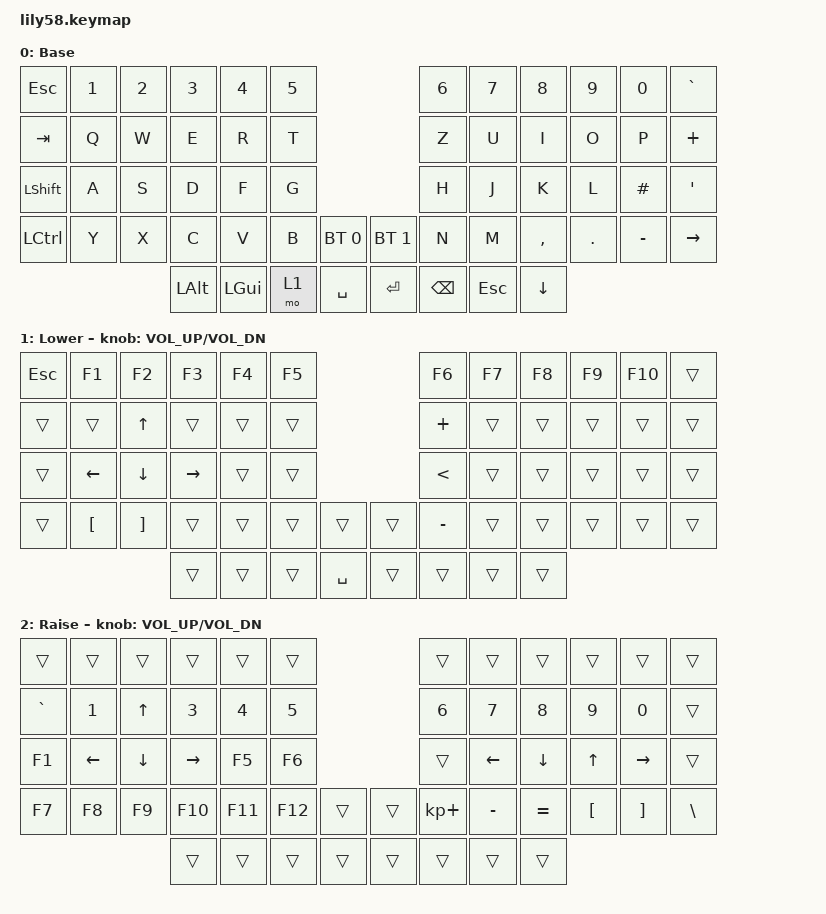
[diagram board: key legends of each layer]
/*
 * Copyright (c) 2020 The ZMK Contributors
 *
 * SPDX-License-Identifier: MIT
 */

#include <behaviors.dtsi>
#include <dt-bindings/zmk/bt.h>
#include <dt-bindings/zmk/keys.h>

/ {
    keymap {
        compatible = "zmk,keymap";

        default_layer {
            // ------------------------------------------------------------------------------------------------------------
            // |  ESC  |  1  |  2  |  3   |  4   |  5   |                   |  6   |  7    |  8    |  9   |   0   |   `   |
            // |  TAB  |  Q  |  W  |  E   |  R   |  T   |                   |  Y   |  U    |  I    |  O   |   P   |   -   |
            // |  CTRL |  A  |  S  |  D   |  F   |  G   |                   |  H   |  J    |  K    |  L   |   ;   |   '   |
            // | SHIFT |  Z  |  X  |  C   |  V   |  B   |   "["  |  |  "]"  |  N   |  M    |  ,    |  .   |   /   | SHIFT |
            //                     | ALT  | GUI  | LOWER|  SPACE |  | ENTER | RAISE| BSPC  | GUI   |

            display-name = "Base";
            bindings = <
&kp ESC           &kp N1  &kp N2  &kp N3    &kp N4    &kp N5                                &kp N6         &kp N7   &kp N8          &kp N9   &kp N0     &kp GRAVE
&kp TAB           &kp Q   &kp W   &kp E     &kp R     &kp T                                 &kp Z          &kp U    &kp I           &kp O    &kp P      &kp PLUS
&kp LEFT_SHIFT    &kp A   &kp S   &kp D     &kp F     &kp G                                 &kp H          &kp J    &kp K           &kp L    &kp HASH   &kp SQT
&kp LEFT_CONTROL  &kp Y   &kp X   &kp C     &kp V     &kp B   &bt BT_SEL 0    &bt BT_SEL 1  &kp N          &kp M    &kp COMMA       &kp DOT  &kp MINUS  &kp RIGHT_ARROW
                                  &kp LALT  &kp LGUI  &mo 1   &kp SPACE       &kp RET       &kp BACKSPACE  &kp ESC  &kp DOWN_ARROW
            >;
        };

        functions {
            // ------------------------------------------------------------------------------------------------------------
            // | BTCLR | BT1 | BT2 |  BT3 |  BT4 |  BT5 |                   |      |       |       |      |       |       |
            // |  F1   |  F2 |  F3 |  F4  |  F5  |  F6  |                   |  F7  |  F8   |  F9   |  F10 |  F11  |  F12  |
            // |   `   |  !  |  @  |  #   |  $   |  %   |                   |  ^   |  &    |  *    |  (   |   )   |   ~   |
            // |       |     |     |      |      |      |        |  |       |      |  _    |  +    |  {   |   }   |  "|"  |
            //                     |      |      |      |        |  |       |      |       |       |

            display-name = "Lower";
            bindings = <
&kp ESCAPE  &kp F1            &kp F2             &kp F3     &kp F4  &kp F5                       &kp F6         &kp F7  &kp F8  &kp F9  &kp F10  &trans
&trans      &trans            &kp UP_ARROW       &trans     &trans  &trans                       &kp PLUS       &trans  &trans  &trans  &trans   &trans
&trans      &kp LEFT          &kp DOWN           &kp RIGHT  &trans  &trans                       &kp LESS_THAN  &trans  &trans  &trans  &trans   &trans
&trans      &kp LEFT_BRACKET  &kp RIGHT_BRACKET  &trans     &trans  &trans  &trans       &trans  &kp MINUS      &trans  &trans  &trans  &trans   &trans
                                                 &trans     &trans  &trans  &kp SPACE    &trans  &trans         &trans  &trans
            >;

            sensor-bindings = <&inc_dec_kp C_VOL_UP C_VOL_DN>;
        };

        raise_layer {
            // ------------------------------------------------------------------------------------------------------------
            // |       |     |     |      |      |      |                   |      |       |       |      |       |       |
            // |   `   |  1  |  2  |  3   |  4   |  5   |                   |  6   |   7   |   8   |  9   |   0   |       |
            // |   F1  |  F2 |  F3 |  F4  |  F5  |  F6  |                   |      |   <-  |   v   |  ^   |  ->   |       |
            // |   F7  |  F8 |  F9 |  F10 |  F11 |  F12 |        |  |       |  +   |   -   |   =   |  [   |   ]   |   \   |
            //                     |      |      |      |        |  |       |      |       |       |

            display-name = "Raise";
            bindings = <
&trans     &trans    &trans          &trans     &trans   &trans                     &trans       &trans     &trans     &trans    &trans     &trans
&kp GRAVE  &kp N1    &kp UP_ARROW    &kp N3     &kp N4   &kp N5                     &kp N6       &kp N7     &kp N8     &kp N9    &kp N0     &trans
&kp F1     &kp LEFT  &kp DOWN_ARROW  &kp RIGHT  &kp F5   &kp F6                     &trans       &kp LEFT   &kp DOWN   &kp UP    &kp RIGHT  &trans
&kp F7     &kp F8    &kp F9          &kp F10    &kp F11  &kp F12  &trans    &trans  &kp KP_PLUS  &kp MINUS  &kp EQUAL  &kp LBKT  &kp RBKT   &kp BSLH
                                     &trans     &trans   &trans   &trans    &trans  &trans       &trans     &trans
            >;

            sensor-bindings = <&inc_dec_kp C_VOL_UP C_VOL_DN>;
        };

        extra_1 {
            status = "reserved";
            sensor-bindings = <&inc_dec_kp 0 0>;
        };

        extra_2 { status = "reserved"; };

        extra_3 { status = "reserved"; };
    };
};
